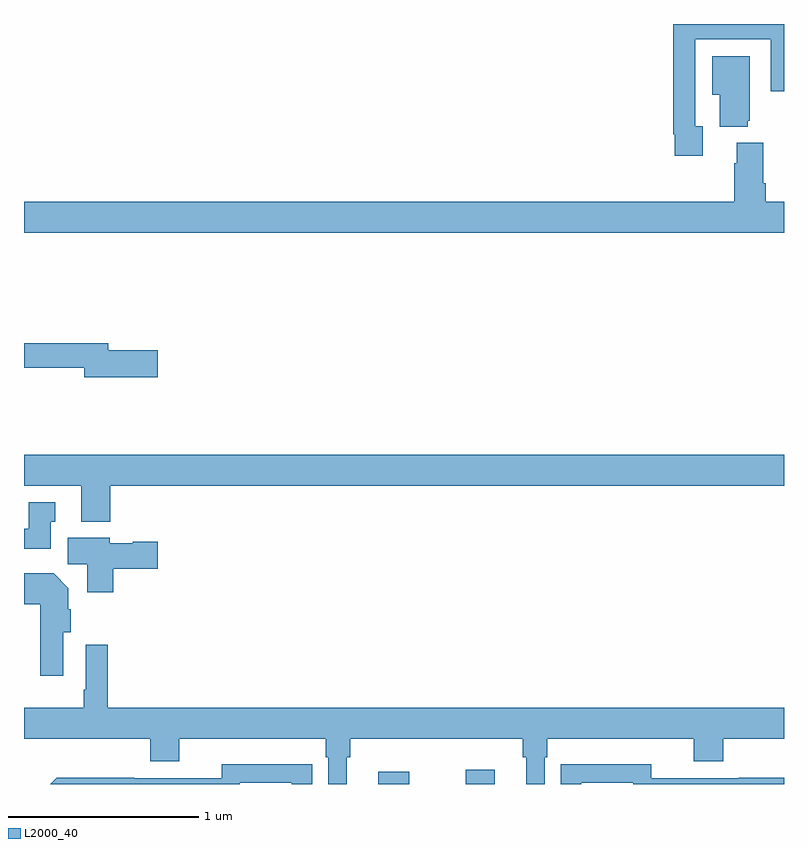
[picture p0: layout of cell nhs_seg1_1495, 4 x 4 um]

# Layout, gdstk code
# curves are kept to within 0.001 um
import gdstk
lib = gdstk.Library(unit=1e-6, precision=1e-09)
def R(c, l, rs):  # rectangles x0, y0, x1, y1
    for r in rs: c.add(gdstk.rectangle(r[:2], r[2:], *l))
def P(c, l, *ps):  # polygons
    for p in ps: c.add(gdstk.Polygon(p, *l))
L2000_40 = (2000, 40)

nhs_seg1_1495 = lib.new_cell('nhs_seg1_1495')
R(nhs_seg1_1495, L2000_40, [(194.864,514.199,195.028,514.264), (195.325,514.199,195.478,514.273)])
P(nhs_seg1_1495, L2000_40, [(196.573,517.662),(196.533,517.662),(196.533,518.118),(196.929,518.118),(196.929,517.845),(197,517.845),(197,518.199),(196.417,518.199),(196.417,517.618),(196.425,517.618),(196.425,517.506),(196.573,517.506)],
  [(196.808,517.689),(196.819,517.689),(196.819,518.029),(196.622,518.029),(196.622,517.826),(196.661,517.826),(196.661,517.658),(196.808,517.658)],
  [(197,517.264),(196.904,517.264),(196.904,517.36),(196.891,517.36),(196.891,517.573),(196.751,517.573),(196.751,517.466),(196.739,517.466),(196.739,517.264),(193,517.264),(193,517.1),(197,517.1)],
  [(193.705,516.482),(193.444,516.482),(193.444,516.518),(193,516.518),(193,516.39),(193.316,516.39),(193.316,516.34),(193.705,516.34)],
  [(193.454,515.768),(197,515.768),(197,515.932),(193,515.932),(193,515.768),(193.301,515.768),(193.301,515.579),(193.454,515.579)],
  [(193.141,515.58),(193.165,515.58),(193.165,515.683),(193.025,515.683),(193.025,515.542),(193,515.542),(193,515.438),(193.141,515.438)],
  [(193.469,515.333),(193.705,515.333),(193.705,515.475),(193.572,515.475),(193.572,515.467),(193.452,515.467),(193.452,515.494),(193.229,515.494),(193.229,515.356),(193.334,515.356),(193.334,515.208),(193.469,515.208)],
  [(193.207,514.998),(193.247,514.998),(193.247,515.12),(193.234,515.12),(193.234,515.23),(193.156,515.308),(193,515.308),(193,515.144),(193.085,515.144),(193.085,514.77),(193.207,514.77)],
  [(194.698,514.34),(194.717,514.34),(194.717,514.436),(195.625,514.436),(195.625,514.34),(195.644,514.34),(195.644,514.199),(195.741,514.199),(195.741,514.34),(195.755,514.34),(195.755,514.436),(196.526,514.436),(196.526,514.319),(196.679,514.319),(196.679,514.436),(197,514.436),(197,514.6),(193.442,514.6),(193.442,514.933),(193.326,514.933),(193.326,514.696),(193.314,514.696),(193.314,514.6),(193,514.6),(193,514.436),(193.664,514.436),(193.664,514.319),(193.816,514.319),(193.816,514.436),(194.588,514.436),(194.588,514.34),(194.601,514.34),(194.601,514.199),(194.698,514.199)],
  [(194.136,514.206),(194.408,514.206),(194.408,514.199),(194.516,514.199),(194.516,514.302),(194.04,514.303),(194.04,514.23),(193.58,514.23),(193.58,514.232),(193.172,514.232),(193.139,514.199),(194.136,514.199)],
  [(195.934,514.206),(196.206,514.206),(196.206,514.199),(197,514.199),(197,514.232),(196.762,514.232),(196.762,514.23),(196.302,514.23),(196.302,514.303),(195.934,514.303),(195.934,514.302),(195.826,514.302),(195.826,514.199),(195.934,514.199)])

lib.write_gds('nhs_seg1_1495.gds')
